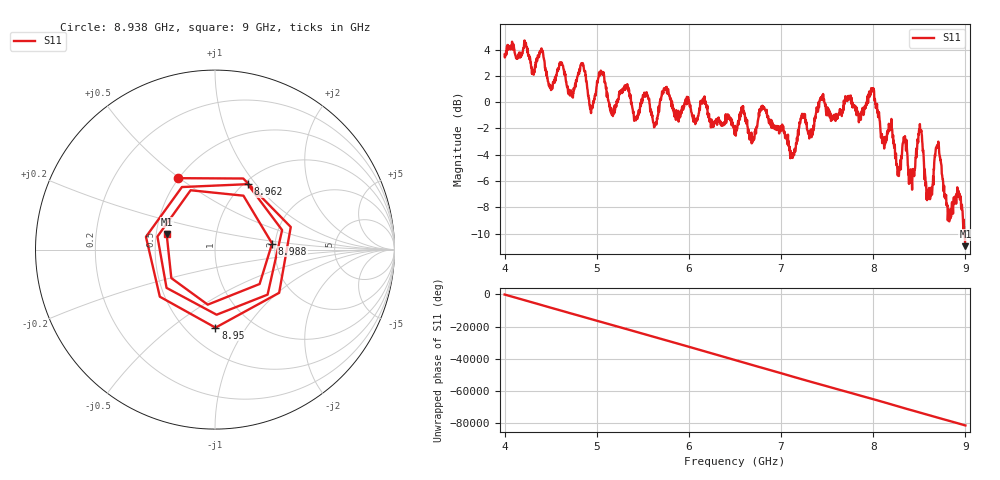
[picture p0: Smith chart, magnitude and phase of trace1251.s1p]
! Created with skrf 1.8.0 (http://scikit-rf.org).
# Hz S RI R 50.0
!freq ReS11 ImS11
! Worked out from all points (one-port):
!   1601 points, 4 GHz to 9 GHz, reference 50 ohm
!   lowest |S11| = -11.0 dB at 9 GHz (marker M1), VSWR 1.79, Z = 28.4 + j5.37 ohm
!   |S11| at or under -10 dB: 8.989815 GHz to end of sweep
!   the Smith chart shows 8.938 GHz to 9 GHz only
!   S11 on the Smith chart (normalised r, x): 8.938 GHz: 0.50, +0.49; 8.95 GHz: 0.68, -0.73; 8.962 GHz: 1.04, +0.91; 8.988 GHz: 1.93, +0.15; 9 GHz: 0.57, +0.11
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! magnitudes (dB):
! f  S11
! 4 GHz  3.6
! 4.497 GHz  1.1
! 4.625 GHz  2.9
! 4.722 GHz  0.7
! 4.85 GHz  2.9
! 4.944 GHz  -0.4
! 5.047 GHz  2.2
! 5.162 GHz  -0.9
! 5.25 GHz  0.6
! 5.875 GHz  -1.0
! 6.5 GHz  -1.8
! 6.806 GHz  -0.3
! 7.125 GHz  -4.2
! 7.441 GHz  0.3
! 7.75 GHz  0.2
! 7.991 GHz  0.8
! 8.103 GHz  -3.0
! 8.375 GHz  -4.8
! 8.428 GHz  -5.1
! 8.506 GHz  -1.7
! 8.603 GHz  -6.6
! 8.694 GHz  -3.3
! 8.819 GHz  -8.8
! 8.938 GHz  -7.0
! 8.95 GHz  -7.2
! 8.962 GHz  -7.8
! 8.988 GHz  -9.9
! 9 GHz  -11.0
